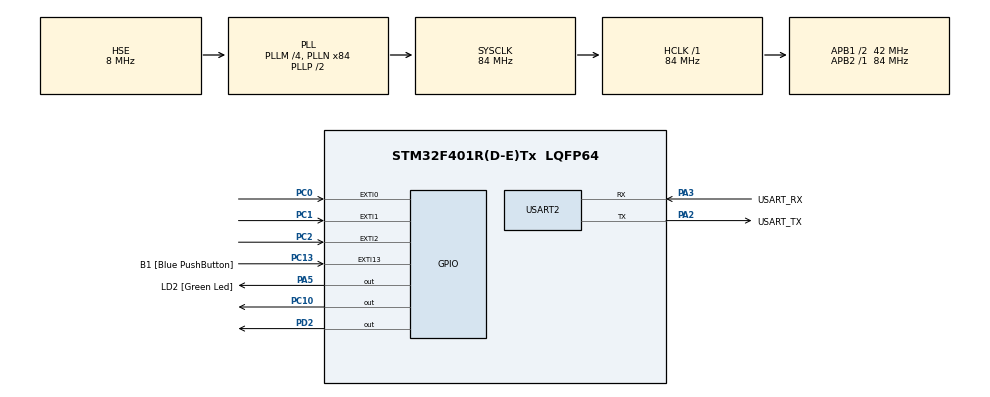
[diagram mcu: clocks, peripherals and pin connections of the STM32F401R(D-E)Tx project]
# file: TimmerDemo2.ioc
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Mcu.Family=STM32F4
Mcu.Name=STM32F401R(D-E)Tx
Mcu.Package=LQFP64
NVIC.EXTI0_IRQn=true\:0\:0\:false\:false\:true\:true\:true
NVIC.EXTI1_IRQn=true\:0\:0\:false\:false\:true\:true\:true
NVIC.EXTI2_IRQn=true\:0\:0\:false\:false\:true\:true\:true
NVIC.PriorityGroup=NVIC_PRIORITYGROUP_0
NVIC.TIM4_IRQn=true\:0\:0\:false\:false\:true\:true\:true
PA13.GPIO_Label=TMS
PA13.Mode=Trace_Asynchronous_SW
PA13.Signal=SYS_JTMS-SWDIO
PA14.GPIO_Label=TCK
PA14.Mode=Trace_Asynchronous_SW
PA14.Signal=SYS_JTCK-SWCLK
PA2.GPIO_Label=USART_TX
PA2.GPIO_Mode=GPIO_MODE_AF_PP
PA2.GPIO_PuPd=GPIO_NOPULL
PA2.GPIO_Speed=GPIO_SPEED_FREQ_LOW
PA2.Mode=Asynchronous
PA2.Signal=USART2_TX
PA3.GPIO_Label=USART_RX
PA3.GPIO_Mode=GPIO_MODE_AF_PP
PA3.GPIO_PuPd=GPIO_NOPULL
PA3.GPIO_Speed=GPIO_SPEED_FREQ_LOW
PA3.Mode=Asynchronous
PA3.Signal=USART2_RX
PA5.GPIO_Label=LD2 [Green Led]
PA5.GPIO_Mode=GPIO_MODE_OUTPUT_PP
PA5.GPIO_PuPd=GPIO_NOPULL
PA5.GPIO_Speed=GPIO_SPEED_FREQ_LOW
PA5.Signal=GPIO_Output
PB3.GPIO_Label=SWO
PB3.Mode=Trace_Asynchronous_SW
PB3.Signal=SYS_JTDO-SWO
PC0.Signal=GPXTI0
PC1.GPIO_ModeDefaultEXTI=GPIO_MODE_IT_RISING_FALLING
PC1.Signal=GPXTI1
PC10.Signal=GPIO_Output
PC13-ANTI_TAMP.GPIO_Label=B1 [Blue PushButton]
PC13-ANTI_TAMP.GPIO_ModeDefaultEXTI=GPIO_MODE_IT_FALLING
PC13-ANTI_TAMP.GPIO_PuPd=GPIO_NOPULL
PC13-ANTI_TAMP.Signal=GPXTI13
PC14-OSC32_IN.Mode=LSE-External-Oscillator
PC14-OSC32_IN.Signal=RCC_OSC32_IN
PC15-OSC32_OUT.Mode=LSE-External-Oscillator
PC15-OSC32_OUT.Signal=RCC_OSC32_OUT
PC2.Signal=GPXTI2
PD2.Signal=GPIO_Output
PH0\ -\ OSC_IN.Mode=HSE-External-Oscillator
PH0\ -\ OSC_IN.Signal=RCC_OSC_IN
PH1\ -\ OSC_OUT.Mode=HSE-External-Oscillator
PH1\ -\ OSC_OUT.Signal=RCC_OSC_OUT
ProjectManager.HeapSize=0x200
ProjectManager.StackSize=0x400
ProjectManager.TargetToolchain=MDK-ARM V5.27
RCC.48MHZClocksFreq_Value=24000000
RCC.AHBFreq_Value=84000000
RCC.APB1CLKDivider=RCC_HCLK_DIV2
RCC.APB1Freq_Value=42000000
RCC.APB1TimFreq_Value=84000000
RCC.APB2Freq_Value=84000000
RCC.APB2TimFreq_Value=84000000
RCC.CortexFreq_Value=84000000
RCC.HCLKFreq_Value=84000000
RCC.HSE_VALUE=8000000
RCC.HSI_VALUE=16000000
RCC.PLLM=4
RCC.PLLN=84
RCC.PLLQ=7
RCC.PLLSourceVirtual=RCC_PLLSOURCE_HSE
RCC.SYSCLKFreq_VALUE=84000000
RCC.SYSCLKSource=RCC_SYSCLKSOURCE_PLLCLK
RCC.VCOOutputFreq_Value=168000000
TIM4.Period=1
TIM4.Prescaler=130
TIM4.TIM_MasterOutputTrigger=TIM_TRGO_RESET
USART2.VirtualMode=VM_ASYNC
VP_TIM4_VS_ClockSourceINT.Mode=Internal
board=NUCLEO-F401RE

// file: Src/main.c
/* USER CODE BEGIN Header */
/**
  ******************************************************************************
  * @file           : main.c
  * @brief          : Main program body
  ******************************************************************************
  * @attention
  *
  * <h2><center>&copy; Copyright (c) 2020 STMicroelectronics.
  * All rights reserved.</center></h2>
  *
  * This software component is licensed by ST under BSD 3-Clause license,
  * the "License"; You may not use this file except in compliance with the
  * License. You may obtain a copy of the License at:
  *                        opensource.org/licenses/BSD-3-Clause
  *
  ******************************************************************************
  */
/* USER CODE END Header */

#include "main.h"
#include "tim.h"
#include "usart.h"
#include "gpio.h"

void SystemClock_Config(void);

/* USER CODE BEGIN 0 */
static int kstage = 0 ,view = 0 , count = 0 , count2 = 0;
static float sum = 0 ;
/* USER CODE END 0 */

int main(void)
{

  /* MCU Configuration--------------------------------------------------------*/

  /* Reset of all peripherals, Initializes the Flash interface and the Systick. */
  HAL_Init();

  /* Configure the system clock */
  SystemClock_Config();

  /* Initialize all configured peripherals */
  MX_GPIO_Init();
  MX_TIM4_Init();
  MX_USART2_UART_Init();

  /* Infinite loop */
  /* USER CODE BEGIN WHILE */
  while (1)
  {
			if(HAL_GPIO_ReadPin(GPIOC,GPIO_PIN_13) == GPIO_PIN_RESET) {
					HAL_Delay(20);
					HAL_TIM_Base_Start_IT(&htim4);
				HAL_GPIO_WritePin(GPIOD,GPIO_PIN_2,GPIO_PIN_SET);
				if(kstage){
					HAL_GPIO_WritePin(GPIOC,GPIO_PIN_10,GPIO_PIN_SET);

				}else{

					HAL_GPIO_WritePin(GPIOC,GPIO_PIN_10,GPIO_PIN_RESET);
					view = count;
				}

			}else{

					kstage = 0;
							HAL_GPIO_WritePin(GPIOC,GPIO_PIN_10,GPIO_PIN_SET);
							HAL_GPIO_WritePin(GPIOD,GPIO_PIN_2,GPIO_PIN_RESET);

			}
    /* USER CODE END WHILE */

  }
}

void SystemClock_Config(void)
{
  RCC_OscInitTypeDef RCC_OscInitStruct = {0};
  RCC_ClkInitTypeDef RCC_ClkInitStruct = {0};

  /** Configure the main internal regulator output voltage
  */
  __HAL_RCC_PWR_CLK_ENABLE();
  __HAL_PWR_VOLTAGESCALING_CONFIG(PWR_REGULATOR_VOLTAGE_SCALE2);
  /** Initializes the CPU, AHB and APB busses clocks
  */
  RCC_OscInitStruct.OscillatorType = RCC_OSCILLATORTYPE_HSE;
  RCC_OscInitStruct.HSEState = RCC_HSE_ON;
  RCC_OscInitStruct.PLL.PLLState = RCC_PLL_ON;
  RCC_OscInitStruct.PLL.PLLSource = RCC_PLLSOURCE_HSE;
  RCC_OscInitStruct.PLL.PLLM = 4;
  RCC_OscInitStruct.PLL.PLLN = 84;
  RCC_OscInitStruct.PLL.PLLP = RCC_PLLP_DIV2;
  RCC_OscInitStruct.PLL.PLLQ = 7;
  if (HAL_RCC_OscConfig(&RCC_OscInitStruct) != HAL_OK)
  {
    Error_Handler();
  }
  /** Initializes the CPU, AHB and APB busses clocks
  */
  RCC_ClkInitStruct.ClockType = RCC_CLOCKTYPE_HCLK|RCC_CLOCKTYPE_SYSCLK
                              |RCC_CLOCKTYPE_PCLK1|RCC_CLOCKTYPE_PCLK2;
  RCC_ClkInitStruct.SYSCLKSource = RCC_SYSCLKSOURCE_PLLCLK;
  RCC_ClkInitStruct.AHBCLKDivider = RCC_SYSCLK_DIV1;
  RCC_ClkInitStruct.APB1CLKDivider = RCC_HCLK_DIV2;
  RCC_ClkInitStruct.APB2CLKDivider = RCC_HCLK_DIV1;

  if (HAL_RCC_ClockConfig(&RCC_ClkInitStruct, FLASH_LATENCY_2) != HAL_OK)
  {
    Error_Handler();
  }
}

/* USER CODE BEGIN 4 */
void HAL_GPIO_EXTI_Callback(uint16_t GPIO_Pin)
{
  /* Prevent unused argument(s) compilation warning */
  UNUSED(GPIO_Pin);
  if(GPIO_Pin == GPIO_PIN_0) {

				HAL_GPIO_WritePin(GPIOC,GPIO_PIN_10,GPIO_PIN_SET);
				count2 = count;
				HAL_TIM_Base_Stop_IT(&htim4);
				sum = (count2 - view) *1.3392857142857142857143 ;
				count = 0 ;
				kstage = 1;

	}
}

void HAL_TIM_PeriodElapsedCallback(TIM_HandleTypeDef *htim)
{
  /* Prevent unused argument(s) compilation warning */
  UNUSED(htim);

  count++;
}
/* USER CODE END 4 */

void Error_Handler(void)
{
}

/************************ (C) COPYRIGHT STMicroelectronics *****END OF FILE****/
